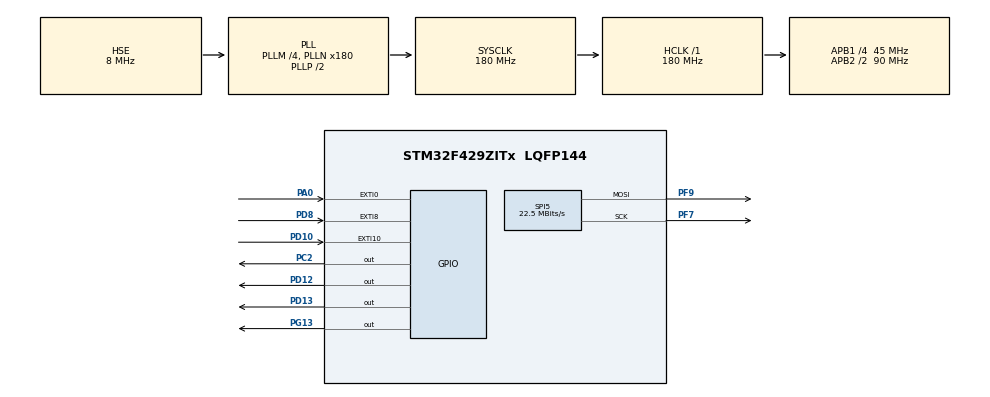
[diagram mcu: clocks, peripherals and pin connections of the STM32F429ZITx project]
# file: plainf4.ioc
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Dma.Request0=SPI5_TX
Dma.SPI5_TX.0.Direction=DMA_MEMORY_TO_PERIPH
Dma.SPI5_TX.0.FIFOMode=DMA_FIFOMODE_DISABLE
Dma.SPI5_TX.0.Instance=DMA2_Stream4
Dma.SPI5_TX.0.MemDataAlignment=DMA_MDATAALIGN_BYTE
Dma.SPI5_TX.0.MemInc=DMA_MINC_ENABLE
Dma.SPI5_TX.0.Mode=DMA_NORMAL
Dma.SPI5_TX.0.PeriphDataAlignment=DMA_PDATAALIGN_BYTE
Dma.SPI5_TX.0.PeriphInc=DMA_PINC_DISABLE
Dma.SPI5_TX.0.Priority=DMA_PRIORITY_LOW
Mcu.Family=STM32F4
Mcu.Name=STM32F429ZITx
Mcu.Package=LQFP144
NVIC.DMA2_Stream4_IRQn=true\:0\:0\:false\:false\:true\:false\:true\:true
NVIC.EXTI0_IRQn=true\:0\:0\:false\:false\:true\:true\:true\:true
NVIC.EXTI15_10_IRQn=true\:0\:0\:false\:false\:true\:true\:true\:true
NVIC.EXTI9_5_IRQn=true\:0\:0\:false\:false\:true\:true\:true\:true
NVIC.PriorityGroup=NVIC_PRIORITYGROUP_4
PA0/WKUP.GPIO_ModeDefaultEXTI=GPIO_MODE_IT_RISING
PA0/WKUP.Signal=GPXTI0
PA13.Mode=Serial_Wire
PA13.Signal=SYS_JTMS-SWDIO
PA14.Mode=Serial_Wire
PA14.Signal=SYS_JTCK-SWCLK
PC14/OSC32_IN.Mode=LSE-External-Oscillator
PC14/OSC32_IN.Signal=RCC_OSC32_IN
PC15/OSC32_OUT.Mode=LSE-External-Oscillator
PC15/OSC32_OUT.Signal=RCC_OSC32_OUT
PC2.Signal=GPIO_Output
PD10.GPIO_ModeDefaultEXTI=GPIO_MODE_IT_FALLING
PD10.GPIO_PuPd=GPIO_PULLDOWN
PD10.Signal=GPXTI10
PD12.Signal=GPIO_Output
PD13.Signal=GPIO_Output
PD8.GPIO_ModeDefaultEXTI=GPIO_MODE_IT_FALLING
PD8.GPIO_PuPd=GPIO_PULLDOWN
PD8.Signal=GPXTI8
PF7.Mode=TX_Only_Simplex_Unidirect_Master
PF7.Signal=SPI5_SCK
PF9.Mode=TX_Only_Simplex_Unidirect_Master
PF9.Signal=SPI5_MOSI
PG13.Signal=GPIO_Output
PH0/OSC_IN.Mode=HSE-External-Oscillator
PH0/OSC_IN.Signal=RCC_OSC_IN
PH1/OSC_OUT.Mode=HSE-External-Oscillator
PH1/OSC_OUT.Signal=RCC_OSC_OUT
ProjectManager.HeapSize=0x200
ProjectManager.StackSize=0x400
ProjectManager.TargetToolchain=STM32CubeIDE
RCC.48MHZClocksFreq_Value=90000000
RCC.AHBFreq_Value=180000000
RCC.APB1CLKDivider=RCC_HCLK_DIV4
RCC.APB1Freq_Value=45000000
RCC.APB1TimFreq_Value=90000000
RCC.APB2CLKDivider=RCC_HCLK_DIV2
RCC.APB2Freq_Value=90000000
RCC.APB2TimFreq_Value=180000000
RCC.CortexFreq_Value=180000000
RCC.HCLKFreq_Value=180000000
RCC.HSE_VALUE=8000000
RCC.HSI_VALUE=16000000
RCC.PLLM=4
RCC.PLLN=180
RCC.PLLSourceVirtual=RCC_PLLSOURCE_HSE
RCC.SYSCLKFreq_VALUE=180000000
RCC.SYSCLKSource=RCC_SYSCLKSOURCE_PLLCLK
RCC.VCOOutputFreq_Value=360000000
SPI5.BaudRatePrescaler=SPI_BAUDRATEPRESCALER_4
SPI5.CalculateBaudRate=22.5 MBits/s
SPI5.Direction=SPI_DIRECTION_2LINES
SPI5.Mode=SPI_MODE_MASTER
SPI5.VirtualType=VM_MASTER
VP_RTC_VS_RTC_Activate.Mode=RTC_Enabled
board=custom

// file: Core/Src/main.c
/* USER CODE BEGIN Header */
/**
 ******************************************************************************
 * @file           : main.c
 * @brief          : Main program body
 ******************************************************************************
 * @attention
 *
 * Copyright (c) 2025 STMicroelectronics.
 * All rights reserved.
 *
 * This software is licensed under terms that can be found in the LICENSE file
 * in the root directory of this software component.
 * If no LICENSE file comes with this software, it is provided AS-IS.
 *
 ******************************************************************************
 */
/* USER CODE END Header */
#include "main.h"

/* USER CODE BEGIN Includes */
#include "ILI9341_GFX.h"
#include "fonts.h"
#include "ILI9341_STM32_Driver.h"
#include "math.h"
#include <stdlib.h>  // cần cho rand() và srand()
#include <time.h>    // cần cho time()
#include "stdio.h"
#define PLANE_WIDTH  20
#define PLANE_HEIGHT 20
#define BULLET_WIDTH 4
#define BULLET_HEIGHT 8
#define MAX_BULLETS 5
#define MAX_ENEMIES 15
#define BOSS_WIDTH 40
#define BOSS_HEIGHT 30
#define MAX_BOSS_BULLETS 50

/* USER CODE END Includes */

RTC_HandleTypeDef hrtc;

SPI_HandleTypeDef hspi5;
DMA_HandleTypeDef hdma_spi5_tx;

/* USER CODE BEGIN PV */
typedef struct { //khai báo kiểu dữ liệu bullet
	int x;
	int y;
	int active;
} Bullet;

typedef struct { // khai báo kiểu dữ liệu máy bay địch
	int x;
	int y;
	int active;
} EnemyPlane;

typedef struct { // khai báo kiểu dữ liệu boss
	int x, y;
	int hp;
	int active;
	int laser_timer;
} Boss;

//đoạn này nhằm khai báo các biến cục bộ
EnemyPlane enemies[MAX_ENEMIES]; //tạo mảng lưu số lượng máy bay địch tối đa
Bullet bullets[MAX_BULLETS]; //tạo mảng lưu trữ số lượng đạn bắn ra tối đa
Boss boss;
Bullet boss_bullets[MAX_BOSS_BULLETS]; // số lượng đạn boss bắn ra tối đa
int boss_bullet_count = 0;
int plane_x = 50;
int plane_y = 120;
int plane_move_flag = 0;
int plane_move_left_flag = 0;     // Dùng cho nút trái
int plane_move_right_flag = 0;    // Dùng cho nút phải
int point = 0;
extern const uint8_t Arial_Narrow8x12[];
int current_enemy_count = 3; // Số địch hiện tại đang được sử dụng
int level = 1;
int a = 1; //biến a thay đổi để tính di chuyển của boss
uint32_t last_boss_fire_time = 0;
const uint32_t boss_fire_interval = 3000; // 3 giây
uint32_t level_start_time = 0;
uint32_t current_time = 0;
const uint32_t LEVEL_DURATION = 30000; // 30 giây
uint32_t boss_start_time = 0;
/* USER CODE END PV */

void SystemClock_Config(void);
static void MX_GPIO_Init(void);
static void MX_DMA_Init(void);
static void MX_RTC_Init(void);
static void MX_SPI5_Init(void);

/* USER CODE BEGIN 0 */
/* Game logic ----------------------------------------------------------------*/

void draw_plane(int x, int y) {
	// Định nghĩa màu sắc
	uint16_t fuselage_color = 0x4208;   // Xám đậm (thân máy bay)
	    uint16_t wing_color = 0x2104;       // Xám rất đậm (cánh)
	    uint16_t nose_color = 0xF800;       // Đỏ (mũi)
	    uint16_t window_color = 0x001F;     // Xanh dương (cửa sổ)
	    uint16_t engine_color = 0x0000;     // Đen (động cơ)
	    uint16_t detail_color = 0x0000;     // Đen (chi tiết)

	    // Thân máy bay chính - hình oval mượt mà
	    // Phần giữa thân (dày nhất)
	    ILI9341_DrawLine(x-14, y, x+16, y, fuselage_color);
	    ILI9341_DrawLine(x-13, y-1, x+15, y-1, fuselage_color);
	    ILI9341_DrawLine(x-13, y+1, x+15, y+1, fuselage_color);
	    ILI9341_DrawLine(x-12, y-2, x+14, y-2, fuselage_color);
	    ILI9341_DrawLine(x-12, y+2, x+14, y+2, fuselage_color);
	    ILI9341_DrawLine(x-10, y-3, x+12, y-3, fuselage_color);
	    ILI9341_DrawLine(x-10, y+3, x+12, y+3, fuselage_color);

	    // Mũi máy bay - hình côn đẹp
	    ILI9341_DrawPixel(x-18, y, nose_color);
	    ILI9341_DrawLine(x-17, y-1, x-17, y+1, nose_color);
	    ILI9341_DrawLine(x-16, y-2, x-16, y+2, nose_color);
	    ILI9341_DrawLine(x-15, y-2, x-15, y+2, nose_color);
	    // Viền mũi
	    ILI9341_DrawPixel(x-16, y-3, detail_color);
	    ILI9341_DrawPixel(x-16, y+3, detail_color);

	    // Đuôi máy bay - thiết kế phức tạp
	    ILI9341_DrawLine(x+13, y-4, x+13, y+4, fuselage_color);
	    ILI9341_DrawLine(x+14, y-3, x+14, y+3, fuselage_color);
	    ILI9341_DrawLine(x+15, y-2, x+15, y+2, fuselage_color);
	    ILI9341_DrawLine(x+16, y-1, x+16, y+1, fuselage_color);
//	    // Cánh đuôi dọc
//	    ILI9341_DrawLine(x+14, y-6, x+14, y-4, wing_color);
//	    ILI9341_DrawLine(x+15, y-5, x+15, y-3, wing_color);
//	    ILI9341_DrawLine(x+16, y-4, x+16, y-2, wing_color);

	    // Cánh chính - thiết kế cong đẹp
	    // Cánh trên
	    ILI9341_DrawLine(x-2, y-16, x+8, y-8, wing_color);
	    ILI9341_DrawLine(x-1, y-15, x+7, y-7, wing_color);
	    ILI9341_DrawLine(x, y-14, x+6, y-6, wing_color);
	    ILI9341_DrawLine(x+1, y-13, x+5, y-5, wing_color);
	    ILI9341_DrawLine(x+2, y-12, x+4, y-4, wing_color);

	    // Cánh dưới
	    ILI9341_DrawLine(x-2, y+16, x+8, y+8, wing_color);
	    ILI9341_DrawLine(x-1, y+15, x+7, y+7, wing_color);
	    ILI9341_DrawLine(x, y+14, x+6, y+6, wing_color);
	    ILI9341_DrawLine(x+1, y+13, x+5, y+5, wing_color);
	    ILI9341_DrawLine(x+2, y+12, x+4, y+4, wing_color);

	    // Viền cánh
	    ILI9341_DrawLine(x-2, y-16, x-1, y-15, detail_color);
	    ILI9341_DrawLine(x-2, y+16, x-1, y+15, detail_color);
	    ILI9341_DrawLine(x+7, y-8, x+8, y-7, detail_color);
	    ILI9341_DrawLine(x+7, y+8, x+8, y+7, detail_color);

	    // Cánh đuôi ngang - nhỏ và thanh lịch
	    ILI9341_DrawLine(x-8, y-6, x-4, y-4, wing_color);
	    ILI9341_DrawLine(x-8, y+6, x-4, y+4, wing_color);
	    ILI9341_DrawLine(x-7, y-5, x-5, y-3, wing_color);
ILI9341_DrawLine(x-7, y+5, x-5, y+3, wing_color);

	    // Động cơ - hình trụ thực tế
	    // Động cơ trên
	    ILI9341_DrawLine(x-1, y-11, x+3, y-9, engine_color);
	    ILI9341_DrawLine(x-1, y-10, x+3, y-8, engine_color);
	    ILI9341_DrawLine(x, y-12, x+2, y-10, engine_color);
	    ILI9341_DrawPixel(x-1, y-12, detail_color);
	    ILI9341_DrawPixel(x+3, y-8, detail_color);

	    // Động cơ dưới
	    ILI9341_DrawLine(x-1, y+11, x+3, y+9, engine_color);
	    ILI9341_DrawLine(x-1, y+10, x+3, y+8, engine_color);
	    ILI9341_DrawLine(x, y+12, x+2, y+10, engine_color);
	    ILI9341_DrawPixel(x-1, y+12, detail_color);
	    ILI9341_DrawPixel(x+3, y+8, detail_color);

	    // Cửa sổ máy bay - hàng cửa sổ đẹp
	    ILI9341_DrawPixel(x-10, y-1, window_color);
	    ILI9341_DrawPixel(x-8, y-1, window_color);
	    ILI9341_DrawPixel(x-6, y-1, window_color);
	    ILI9341_DrawPixel(x-4, y-1, window_color);
	    ILI9341_DrawPixel(x-10, y+1, window_color);
	    ILI9341_DrawPixel(x-8, y+1, window_color);
	    ILI9341_DrawPixel(x-6, y+1, window_color);
	    ILI9341_DrawPixel(x-4, y+1, window_color);

	    // Cửa sổ cabin lái
	    ILI9341_DrawPixel(x-12, y, window_color);
	    ILI9341_DrawPixel(x-11, y-1, window_color);
	    ILI9341_DrawPixel(x-11, y+1, window_color);

	    // Chi tiết trang trí
	    ILI9341_DrawLine(x-5, y, x+5, y, detail_color);  // Đường viền thân
	    ILI9341_DrawPixel(x+10, y-1, detail_color);      // Logo/chi tiết
	    ILI9341_DrawPixel(x+10, y+1, detail_color);
}

void erase_plane(int x, int y) {

	// Định nghĩa màu sắc
	    uint16_t fuselage_color = 0xFFFFF;   // trắng
	    uint16_t wing_color = 0xFFFFF;   // trắng
	    uint16_t nose_color = 0xFFFFF;   // trắng
	    uint16_t window_color = 0xFFFFF;   // trắng
	    uint16_t engine_color = 0xFFFFF;   // trắng
	    uint16_t detail_color = 0xFFFFF;   // trắng

	    // Thân máy bay chính - hình oval mượt mà
	    // Phần giữa thân (dày nhất)
	    ILI9341_DrawLine(x-14, y, x+16, y, fuselage_color);
	    ILI9341_DrawLine(x-13, y-1, x+15, y-1, fuselage_color);
	    ILI9341_DrawLine(x-13, y+1, x+15, y+1, fuselage_color);
	    ILI9341_DrawLine(x-12, y-2, x+14, y-2, fuselage_color);
	    ILI9341_DrawLine(x-12, y+2, x+14, y+2, fuselage_color);
	    ILI9341_DrawLine(x-10, y-3, x+12, y-3, fuselage_color);
	    ILI9341_DrawLine(x-10, y+3, x+12, y+3, fuselage_color);

	    // Mũi máy bay - hình côn đẹp
	    ILI9341_DrawPixel(x-18, y, nose_color);
	    ILI9341_DrawLine(x-17, y-1, x-17, y+1, nose_color);
	    ILI9341_DrawLine(x-16, y-2, x-16, y+2, nose_color);
	    ILI9341_DrawLine(x-15, y-2, x-15, y+2, nose_color);
	    // Viền mũi
	    ILI9341_DrawPixel(x-16, y-3, detail_color);
	    ILI9341_DrawPixel(x-16, y+3, detail_color);

	    // Đuôi máy bay - thiết kế phức tạp
	    ILI9341_DrawLine(x+13, y-4, x+13, y+4, fuselage_color);
	    ILI9341_DrawLine(x+14, y-3, x+14, y+3, fuselage_color);
ILI9341_DrawLine(x+15, y-2, x+15, y+2, fuselage_color);
	    ILI9341_DrawLine(x+16, y-1, x+16, y+1, fuselage_color);

	    // Cánh chính - thiết kế cong đẹp
	    // Cánh trên
	    ILI9341_DrawLine(x-2, y-16, x+8, y-8, wing_color);
	    ILI9341_DrawLine(x-1, y-15, x+7, y-7, wing_color);
	    ILI9341_DrawLine(x, y-14, x+6, y-6, wing_color);
	    ILI9341_DrawLine(x+1, y-13, x+5, y-5, wing_color);
	    ILI9341_DrawLine(x+2, y-12, x+4, y-4, wing_color);

	    // Cánh dưới
	    ILI9341_DrawLine(x-2, y+16, x+8, y+8, wing_color);
	    ILI9341_DrawLine(x-1, y+15, x+7, y+7, wing_color);
	    ILI9341_DrawLine(x, y+14, x+6, y+6, wing_color);
	    ILI9341_DrawLine(x+1, y+13, x+5, y+5, wing_color);
	    ILI9341_DrawLine(x+2, y+12, x+4, y+4, wing_color);

	    // Viền cánh
	    ILI9341_DrawLine(x-2, y-16, x-1, y-15, detail_color);
	    ILI9341_DrawLine(x-2, y+16, x-1, y+15, detail_color);
	    ILI9341_DrawLine(x+7, y-8, x+8, y-7, detail_color);
	    ILI9341_DrawLine(x+7, y+8, x+8, y+7, detail_color);

	    // Cánh đuôi ngang - nhỏ và thanh lịch
	    ILI9341_DrawLine(x-8, y-6, x-4, y-4, wing_color);
	    ILI9341_DrawLine(x-8, y+6, x-4, y+4, wing_color);
	    ILI9341_DrawLine(x-7, y-5, x-5, y-3, wing_color);
	    ILI9341_DrawLine(x-7, y+5, x-5, y+3, wing_color);

	    // Động cơ - hình trụ thực tế
	    // Động cơ trên
	    ILI9341_DrawLine(x-1, y-11, x+3, y-9, engine_color);
	    ILI9341_DrawLine(x-1, y-10, x+3, y-8, engine_color);
	    ILI9341_DrawLine(x, y-12, x+2, y-10, engine_color);
	    ILI9341_DrawPixel(x-1, y-12, detail_color);
	    ILI9341_DrawPixel(x+3, y-8, detail_color);

	    // Động cơ dưới
	    ILI9341_DrawLine(x-1, y+11, x+3, y+9, engine_color);
	    ILI9341_DrawLine(x-1, y+10, x+3, y+8, engine_color);
	    ILI9341_DrawLine(x, y+12, x+2, y+10, engine_color);
	    ILI9341_DrawPixel(x-1, y+12, detail_color);
	    ILI9341_DrawPixel(x+3, y+8, detail_color);

	    // Cửa sổ máy bay - hàng cửa sổ đẹp
	    ILI9341_DrawPixel(x-10, y-1, window_color);
	    ILI9341_DrawPixel(x-8, y-1, window_color);
	    ILI9341_DrawPixel(x-6, y-1, window_color);
	    ILI9341_DrawPixel(x-4, y-1, window_color);
	    ILI9341_DrawPixel(x-10, y+1, window_color);
	    ILI9341_DrawPixel(x-8, y+1, window_color);
	    ILI9341_DrawPixel(x-6, y+1, window_color);
	    ILI9341_DrawPixel(x-4, y+1, window_color);

	    // Cửa sổ cabin lái
	    ILI9341_DrawPixel(x-12, y, window_color);
	    ILI9341_DrawPixel(x-11, y-1, window_color);
	    ILI9341_DrawPixel(x-11, y+1, window_color);

	    // Chi tiết trang trí
	    ILI9341_DrawLine(x-5, y, x+5, y, detail_color);  // Đường viền thân
	    ILI9341_DrawPixel(x+10, y-1, detail_color);      // Logo/chi tiết
	    ILI9341_DrawPixel(x+10, y+1, detail_color);
}

//void draw_enemies(int x, int y) { //hàm vẽ enemies
//	ILI9341_DrawRectangle(x, y, PLANE_WIDTH, PLANE_HEIGHT, GREEN);
//}
//void erase_enemies(int x, int y) { //hàm xóa enemies
//	ILI9341_DrawRectangle(x, y, PLANE_WIDTH, PLANE_HEIGHT, WHITE);
//}
void draw_enemies(int x, int y) { // hàm vẽ enemies
    // Thân chính (bay từ trên xuống - mũi hướng xuống)
    ILI9341_DrawRectangle(x + 5, y + 8, 15, 4, DARKGREEN);  // thân trung tâm
    ILI9341_DrawRectangle(x + 2, y + 10, 8, 2, DARKGREEN);  // mũi nhọn

    // Cánh delta (quay 90 độ)
    ILI9341_DrawRectangle(x + 8, y + 2, 6, 16, GREEN);      // cánh chính
    ILI9341_DrawRectangle(x + 6, y + 4, 10, 12, GREEN);     // phần cánh rộng
    ILI9341_DrawRectangle(x + 4, y + 6, 14, 8, GREEN);      // phần cánh trong

    // Động cơ phía sau (2 ống ở phía trên)
    ILI9341_DrawRectangle(x + 18, y + 4, 4, 3, DARKGREEN); // động cơ trên
    ILI9341_DrawRectangle(x + 18, y + 13, 4, 3, DARKGREEN);// động cơ dưới

    // Cockpit (buồng lái)
    ILI9341_DrawRectangle(x + 7, y + 9, 4, 2, BLUE);

    // Chi tiết nhỏ (đèn cảnh báo)
    ILI9341_DrawPixel(x + 10, y + 6, RED);
    ILI9341_DrawPixel(x + 10, y + 14, RED);
}

void erase_enemies(int x, int y) { // hàm xóa enemies
    // Xóa toàn bộ vùng enemy (sau khi quay)
    ILI9341_DrawRectangle(x, y, 25, 20, WHITE);
}

void init_enemies() { //hàm khởi tạo enemies
	for (int i = 0; i < current_enemy_count; i++) {
		enemies[i].x = 280 + i * 10;
		enemies[i].y = rand() % 100;
		enemies[i].active = 1;
	}
}

void update_enemies() { //hàm cập nhật enemies
	for (int i = 0; i < current_enemy_count; i++) {
		if (enemies[i].active) {
			erase_enemies(enemies[i].x, enemies[i].y);

			enemies[i].x -= level*3;

			if (enemies[i].x <= 0) {
				enemies[i].x = 320;
				enemies[i].y = (enemies[i].y + 100 + rand() * 3 % 70) % 220;
			}

			draw_enemies(enemies[i].x, enemies[i].y); // vẽ lại enemy
		}
	}
}

void init_boss() { //hàm khởi tạo boss
	boss.x = 280;
	boss.y = 20;
	boss.hp = 20;
	boss.active = 1;
	boss.laser_timer = 0;
}

//void draw_boss(int x, int y) { //vẽ boss
//	ILI9341_DrawRectangle(x, y, BOSS_WIDTH, BOSS_HEIGHT, RED);
//}
//
//void erase_boss(int x, int y) { //xóa boss
//	ILI9341_DrawRectangle(x, y, BOSS_WIDTH, BOSS_HEIGHT, WHITE);
//}
void draw_boss(int x, int y) { // vẽ boss
    // Thân chính (oval lớn)
    ILI9341_DrawRectangle(x + 20, y + 15, 40, 20, GREEN);
    ILI9341_DrawRectangle(x + 15, y + 20, 50, 10, GREEN);

    // Đầu boss (phần nhọn phía trước)
    ILI9341_DrawRectangle(x + 65, y + 22, 10, 6, DARKGREEN);

    // Cánh trên
    ILI9341_DrawRectangle(x + 10, y + 5, 60, 8, GREEN);
    ILI9341_DrawRectangle(x + 5, y + 8, 70, 4, GREEN);

    // Cánh dưới
    ILI9341_DrawRectangle(x + 10, y + 37, 60, 8, GREEN);
    ILI9341_DrawRectangle(x + 5, y + 40, 70, 4, GREEN);

    // Động cơ/Turbin (4 cái)
    ILI9341_DrawRectangle(x + 8, y + 13, 6, 8, DARKGREEN);   // trái trên
    ILI9341_DrawRectangle(x + 8, y + 29, 6, 8, DARKGREEN);   // trái dưới
    ILI9341_DrawRectangle(x + 66, y + 13, 6, 8, DARKGREEN);  // phải trên
    ILI9341_DrawRectangle(x + 66, y + 29, 6, 8, DARKGREEN);  // phải dưới

    // Đuôi
    ILI9341_DrawRectangle(x, y + 20, 15, 10, GREEN);
    ILI9341_DrawRectangle(x - 5, y + 23, 8, 4, GREEN);

    // Cửa sổ/Cockpit
    ILI9341_DrawRectangle(x + 35, y + 22, 8, 6, BLUE);

    // Chi tiết nhỏ (đèn/cảm biến)
    ILI9341_DrawPixel(x + 25, y + 18, RED);
    ILI9341_DrawPixel(x + 55, y + 18, RED);
    ILI9341_DrawPixel(x + 25, y + 32, RED);
    ILI9341_DrawPixel(x + 55, y + 32, RED);
}

void erase_boss(int x, int y) { // xóa boss
    // Xóa toàn bộ vùng boss bằng cách vẽ hình chữ nhật trắng lớn
    ILI9341_DrawRectangle(x - 5, y + 5, 85, 45, WHITE);
}

void fire_boss_laser() { // hàm bắn đạn của boss
	for (int i = 0; i < MAX_BOSS_BULLETS; i += 3) {
		if (!boss_bullets[i].active) {
			boss_bullets[i].x = boss.x;
			boss_bullets[i].y = boss.y;
			boss_bullets[i].active = 1;

			boss_bullets[i + 1].x = boss.x;
			boss_bullets[i + 1].y = boss.y;
			boss_bullets[i + 1].active = 1;

			boss_bullets[i + 2].x = boss.x;
			boss_bullets[i + 2].y = boss.y;
			boss_bullets[i + 2].active = 1;
			break;
		}
	}
}

void boss_shotgun(int i) {
	// Xóa viên đạn cũ
	ILI9341_DrawRectangle(boss_bullets[i].x, boss_bullets[i].y,
	BULLET_HEIGHT, BULLET_WIDTH, WHITE);
	ILI9341_DrawRectangle(boss_bullets[i + 1].x, boss_bullets[i + 1].y,
	BULLET_HEIGHT, BULLET_WIDTH, WHITE);
	ILI9341_DrawRectangle(boss_bullets[i + 2].x, boss_bullets[i + 2].y,
	BULLET_HEIGHT, BULLET_WIDTH, WHITE);

	// Di chuyển đạn xuống
	boss_bullets[i].x -= 2;

	boss_bullets[i + 1].x -= 2;
	boss_bullets[i + 1].y += 1;

	boss_bullets[i + 2].x -= 2;
	boss_bullets[i + 2].y -= 1;

	// Nếu ra khỏi màn hình
//	if (boss_bullets[i].x <= 0) {
//		boss_bullets[i].active = 0;
//		boss_bullets[i + 1].active = 0;
//		boss_bullets[i + 2].active = 0;
//		return;
//	}

	// Vẽ lại viên đạn mới
	ILI9341_DrawRectangle(boss_bullets[i].x, boss_bullets[i].y,
	BULLET_HEIGHT, BULLET_WIDTH, RED);

	ILI9341_DrawRectangle(boss_bullets[i + 1].x, boss_bullets[i + 1].y,
	BULLET_HEIGHT, BULLET_WIDTH, RED);

	ILI9341_DrawRectangle(boss_bullets[i + 2].x, boss_bullets[i + 2].y,
	BULLET_HEIGHT, BULLET_WIDTH, RED);

	check_lose(i);
}

void boss_burst(int i) {
	// Xóa viên đạn cũ
	ILI9341_DrawRectangle(boss_bullets[i].x, boss_bullets[i].y,
	BULLET_HEIGHT, BULLET_WIDTH, WHITE);
	ILI9341_DrawRectangle(boss_bullets[i + 1].x, boss_bullets[i + 1].y,
	BULLET_HEIGHT, BULLET_WIDTH, WHITE);
	ILI9341_DrawRectangle(boss_bullets[i + 2].x, boss_bullets[i + 2].y,
	BULLET_HEIGHT, BULLET_WIDTH, WHITE);

	// Di chuyển đạn xuống
	boss_bullets[i].x -= 2;

	boss_bullets[i + 1].x = boss_bullets[i].x + 32;

	boss_bullets[i + 2].x = boss_bullets[i].x + 64;

	// Nếu ra khỏi màn hình
//	if (boss_bullets[i].x <= 0) {
//		boss_bullets[i].active = 0;
//		boss_bullets[i + 1].active = 0;
//		boss_bullets[i + 2].active = 0;
//		return;
//	}

	// Vẽ lại viên đạn mới
	ILI9341_DrawRectangle(boss_bullets[i].x, boss_bullets[i].y,
	BULLET_HEIGHT, BULLET_WIDTH, RED);

	ILI9341_DrawRectangle(boss_bullets[i + 1].x, boss_bullets[i + 1].y,
	BULLET_HEIGHT, BULLET_WIDTH, RED);

	ILI9341_DrawRectangle(boss_bullets[i + 2].x, boss_bullets[i + 2].y,
	BULLET_HEIGHT, BULLET_WIDTH, RED);

	check_lose(i);
}

void boss_wave(int i) {
	// Xóa viên đạn cũ
	ILI9341_DrawRectangle(boss_bullets[i].x, boss_bullets[i].y,
	BULLET_HEIGHT, BULLET_WIDTH, WHITE);
	ILI9341_DrawRectangle(boss_bullets[i + 1].x, boss_bullets[i + 1].y,
	BULLET_HEIGHT, BULLET_WIDTH, WHITE);
	ILI9341_DrawRectangle(boss_bullets[i + 2].x, boss_bullets[i + 2].y,
	BULLET_HEIGHT, BULLET_WIDTH, WHITE);

	// Di chuyển đạn xuống
	boss_bullets[i].x -= 2;

	boss_bullets[i + 1].x = boss_bullets[i].x + 16;
	boss_bullets[i + 1].y = boss_bullets[i].y + 16;

	boss_bullets[i + 2].x = boss_bullets[i].x + 16;
	boss_bullets[i + 2].y = boss_bullets[i].y - 16;

	// Nếu ra khỏi màn hình
//	if (boss_bullets[i].x <= 0) {
//		boss_bullets[i].active = 0;
//		boss_bullets[i + 1].active = 0;
//		boss_bullets[i + 2].active = 0;
//		return;
//	}

	// Vẽ lại viên đạn mới
	ILI9341_DrawRectangle(boss_bullets[i].x, boss_bullets[i].y,
	BULLET_HEIGHT, BULLET_WIDTH, RED);

	ILI9341_DrawRectangle(boss_bullets[i + 1].x, boss_bullets[i + 1].y,
	BULLET_HEIGHT, BULLET_WIDTH, RED);

	ILI9341_DrawRectangle(boss_bullets[i + 2].x, boss_bullets[i + 2].y,
	BULLET_HEIGHT, BULLET_WIDTH, RED);

	check_lose(i);
}

void update_boss_bullets() { // hàm cập nhật tình trạng đạn của boss
	//nếu viên đạn được active, vẽ lại đường đạn đi xuống, nếu va chạm vào máy bay thì thua
	for (int i = 0; i < MAX_BOSS_BULLETS; i += 3) {
		if (boss_bullets[i].active) {
			if ((i / 3) % 3 == 0) {
				boss_shotgun(i);
			} else if ((i / 3) % 3 == 1) {
				boss_burst(i);
			} else if ((i / 3) % 3 == 2) {
				boss_wave(i);
			}
		}
	}
}
void check_lose(int i) {
// Kiểm tra va chạm với máy bay người chơi
	for (int j = i; j < i + 3; j++) {
		if (boss_bullets[j].x + 4 <= plane_x
				|| boss_bullets[j].x >= plane_x + PLANE_WIDTH
				|| boss_bullets[j].y + 4 <= plane_y - PLANE_WIDTH / 2
				|| boss_bullets[j].y >= plane_y + PLANE_HEIGHT / 2) {
		} else {
			show_game_over_screen();
			while (1)
				; // Dừng game tại đây
		}
	}
}

void update_boss() {
//hàm cập nhật tình trạng của boss, boss di chuyển qua lại màn hình, sau 100 chu kì sẽ bắn đạn 1 lần
	if (!boss.active)
		return;
	erase_boss(boss.x, boss.y);
	if (boss.y <= 0)
		a = 1;
	else if (boss.y >= 210)
		a = -1; // Di chuyển lại từ phải sang trái
	boss.y += a;

	draw_boss(boss.x, boss.y);

	boss.laser_timer++;
	if (boss.laser_timer >= 100) { // Bắn laser sau mỗi 100 chu kỳ
		fire_boss_laser();
		boss.laser_timer = 0;
	}
}

int check_bullet_boss_collision() {
// hàm check va chạm boss với đạn, nếu bắn boss đủ số lượng đạn, boss sẽ chết
	if (!boss.active)
		return 0;

	for (int i = 0; i < MAX_BULLETS; i++) {
		if (!bullets[i].active)
			continue;

		if (bullets[i].x + BULLET_HEIGHT > boss.x&&
		bullets[i].x < boss.x + BOSS_WIDTH &&
		bullets[i].y + BULLET_WIDTH > boss.y &&
		bullets[i].y < boss.y + BOSS_HEIGHT) {

			bullets[i].active = 0;
			ILI9341_DrawRectangle(bullets[i].x, bullets[i].y,
			BULLET_HEIGHT, BULLET_WIDTH, WHITE);

			boss.hp--;
			if (boss.hp <= 0) {
				erase_boss(boss.x, boss.y);
				boss.active = 0;
				return 1;
			}
		}
	}
	return 0;
}

//void show_victory_screen() { //màn hình chiến thắng
//	ILI9341_FillScreen(BLACK);
//
//// Hiệu ứng "pháo hoa" đơn giản
//	for (int r = 0; r < 60; r += 4) {
//		ILI9341_DrawHollowCircle(80, 80, r, YELLOW);
//		ILI9341_DrawHollowCircle(240, 100, r, GREEN);
//		ILI9341_DrawHollowCircle(160, 160, r, RED);
//		HAL_Delay(30);
//	}
//
//// Tiêu đề chiến thắng
//	ILI9341_DrawText("YOU WIN!", FONT3, 90, 100, GREEN, BLACK);
//	ILI9341_DrawText("Congratulations", FONT3, 60, 160, WHITE, BLACK);
//	ILI9341_DrawText("Press RESET to play again", FONT2, 30, 270, CYAN, BLACK);
//}

void show_victory_screen() { // màn hình chiến thắng
    ILI9341_FillScreen(BLACK);

    // Hiệu ứng "pháo hoa" đơn giản
    for (int r = 0; r < 60; r += 4) {
        ILI9341_DrawHollowCircle(80, 80, r, YELLOW);
        ILI9341_DrawHollowCircle(240, 100, r, GREEN);
        ILI9341_DrawHollowCircle(160, 160, r, RED);
        HAL_Delay(30);
    }

    // Tiêu đề chiến thắng
    ILI9341_DrawText("YOU WIN!", FONT3, 90, 100, GREEN, BLACK);

    // Hiển thị điểm số
    char score_msg[30];
    sprintf(score_msg, "Final Score: %d", point);
    ILI9341_DrawText(score_msg, FONT3, 50, 130, YELLOW, BLACK);

    ILI9341_DrawText("Congratulations", FONT3, 60, 160, WHITE, BLACK);
    ILI9341_DrawText("Press RESET to play again", FONT2, 30, 270, CYAN, BLACK);
}

void show_game_over_screen() {
	ILI9341_FillScreen(BLACK);

	ILI9341_DrawText("GAME OVER", FONT3, 80, 80, RED, BLACK);
	ILI9341_DrawText("Thanks for playing!", FONT3, 60, 140, WHITE, BLACK);

	for (int r = 0; r < 50; r += 5) {
		ILI9341_DrawFilledCircle(160, 240, r, YELLOW);
		HAL_Delay(30);
	}

	ILI9341_DrawText("Press RESET to play again", FONT2, 40, 270, BLUE, BLACK);
}

//void check_boss_bullet_collision_with_player() {
//	// hàm check va chạm của máy bay và đạn cuẩ boss
//	for (int i = 0; i < MAX_BOSS_BULLETS; i++) {
//		if (!boss_bullets[i].active)
//			continue;
//
//		if (boss_bullets[i].x + 4 <= plane_x
//				|| boss_bullets[i].x >= plane_x + PLANE_WIDTH
//				|| boss_bullets[i].y + 4 <= plane_y - PLANE_WIDTH / 2
//				|| boss_bullets[i].y >= plane_y + PLANE_HEIGHT / 2) {
//		} else {
//			ILI9341_FillScreen(WHITE);
//			ILI9341_DrawText("GAME OVER", FONT3, 50, 120, RED, WHITE);
//			while (1)
//				; // Dừng game tại đây
//		}
//	}
//}

void draw_bullet(Bullet *b) {
	ILI9341_DrawRectangle(b->x, b->y, BULLET_HEIGHT, BULLET_WIDTH, RED);
}

void erase_bullet(Bullet *b) {
	ILI9341_DrawRectangle(b->x, b->y, BULLET_HEIGHT, BULLET_WIDTH, WHITE);
}

void shoot_bullet() {
	//hàm khởi tạo đạn của máy bay
	for (int i = 0; i < MAX_BULLETS; i++) {
		if (!bullets[i].active) {
			bullets[i].x = plane_x + PLANE_WIDTH;
			bullets[i].y = plane_y;
			bullets[i].active = 1;
			break;
		}
	}
}

void update_bullets() {
	//hàm cập nhật tình trạng đạn, nếu viên đạn active thì sẽ di chuyển lên
	for (int i = 0; i < MAX_BULLETS; i++) {
		if (bullets[i].active) {
			erase_bullet(&bullets[i]);
			bullets[i].x += 5;
			if (bullets[i].x >= 320) {
				bullets[i].active = 0;
			} else {
				draw_bullet(&bullets[i]);
			}
		}
	}
}

void draw_score(int point) {
	char buffer[20];
	sprintf(buffer, "Score: %d", point);

	// Xóa vùng cũ (giả sử vùng rộng 120px, cao 18px)
	ILI9341_DrawRectangle(0, 0, 120, 18, WHITE);

	// Vẽ chuỗi mới (x=0, y=0), dùng font 11x18
	ILI9341_DrawText(buffer, Arial_Narrow8x12, 0, 0, BLACK, WHITE);
}

void check_bullet_enemy_collision() { //hàm check máy bay địch chạm đạn
	for (int i = 0; i < MAX_BULLETS; i++) {
		if (!bullets[i].active)
			continue;
		for (int j = 0; j < current_enemy_count; j++) {
			if (!enemies[j].active)
				continue;

			// Kiểm tra va chạm hình chữ nhật
			if (bullets[i].x + BULLET_HEIGHT > enemies[j].x&&
			bullets[i].x < enemies[j].x + PLANE_WIDTH &&
			bullets[i].y + BULLET_WIDTH > enemies[j].y &&
			bullets[i].y < enemies[j].y + PLANE_HEIGHT) {

				// Xóa máy bay địch và đạn
				erase_enemies(enemies[j].x, enemies[j].y);
				erase_bullet(&bullets[i]);
				bullets[i].active = 0;
				enemies[j].active = 0;

				// (Tùy chọn) Reset lại địch sau khi bị bắn( đảm bảo màn hình luốn đủ số lượng địch)
				enemies[j].x = 320;
				enemies[j].y = rand() % 100; // rand chạy từ 0 -> 32767
				enemies[j].active = 1;

				//cộng điểm
				point += 10;

			}
		}
	}
}

void show_welcome_screen() {
    ILI9341_FillScreen(WHITE);

    // Hiển thị tiêu đề
    ILI9341_DrawText("WELCOME TO", FONT3, 90, 80, RED, WHITE);
    ILI9341_DrawText("AIR WAR", FONT4, 110, 100, BLUE, WHITE);
    ILI9341_DrawText("PRESS TO START", FONT3, 90, 140, BLUE, WHITE);

    // Khởi tạo máy bay và địch cho demo
    int demo_plane_y = 120;
    int direction = 1;
    int demo_enemy_y = 30;

    uint32_t last_update = HAL_GetTick();

    while (!plane_move_flag) { // Đợi cho đến khi nhấn nút thật sự
        uint32_t now = HAL_GetTick();

        if (now - last_update >= 100) {
            // Cập nhật máy bay demo bay lên xuống
            int old_y = demo_plane_y;
            demo_plane_y += direction * 5;
            if (demo_plane_y > 180 || demo_plane_y < 60) direction *= -1;

            // Xóa và vẽ lại máy bay
            erase_plane(plane_x, old_y);
            draw_plane(plane_x, demo_plane_y);

            // Địch bay ngang đơn giản
            static int enemy_x = 220;
            erase_enemies(enemy_x, demo_enemy_y);
            enemy_x -= 10;
            if (enemy_x < -20) enemy_x = 220;
            draw_enemies(enemy_x, demo_enemy_y);

            last_update = now;
        }
    }
    if (plane_move_flag) {
        ILI9341_FillScreen(WHITE);  // Xóa màn hình welcome
        plane_move_flag = 0;        // Reset flag để không bị bắn ngay khi vào game
        return;                     // Thoát khỏi hàm show_welcome_screen()
    }
}

int check_collision(int x1, int y1, int w1, int h1, int x2, int y2, int w2,
		int h2)
// hàm check va chạm máy bay ta với địch
{
	return !(x1 + w1 <= x2 ||  // máy bay ta ở hoàn toàn ở dưới máy bay địch
			x2 + w2 <= x1 ||  // máy bay địch hoàn toàn ở dưới máy bay ta
			y1 + h1 / 2 <= y2 ||  // máy bay ta hoàn toàn bên phải máy bay đich
			y1 - h1 / 2 >= y2 + h2); // máy bay địch ở hoàn toàn bên phải máy bay ta
}

/* USER CODE END 0 */

int main(void) {

	/* MCU Configuration--------------------------------------------------------*/

	/* Reset of all peripherals, Initializes the Flash interface and the Systick. */
	HAL_Init();

	/* Configure the system clock */
	SystemClock_Config();

	/* Initialize all configured peripherals */
	MX_GPIO_Init();
	MX_DMA_Init();
	MX_RTC_Init();
	MX_SPI5_Init();
	/* USER CODE BEGIN 2 */
	ILI9341_Init();
	ILI9341_FillScreen(WHITE); //xóa màn hình cũ
	ILI9341_SetRotation(SCREEN_HORIZONTAL_2); // khởi tạo trục Oxy

	srand(time(NULL)); // lệnh này khởi tạo "seed" (hạt giống) cho bộ sinh số ngẫu nhiên rand()
	show_welcome_screen();

	/* USER CODE END 2 */

	/* Infinite loop */
	while (1) {

		/* USER CODE BEGIN 3 */
		/* Infinite loop */
		for (int i = 0; i < MAX_BULLETS; i++)
			bullets[i].active = 0;

		draw_plane(plane_x, plane_y);
		init_enemies();
		draw_score(point);
		level_start_time = HAL_GetTick(); // Bắt đầu đếm thời gian level đầu tiên

		while (1) {
			current_time = HAL_GetTick();
			draw_score(point);
			update_bullets();
			if (level <= 2) {
				draw_plane(plane_x, plane_y);
				update_enemies();
				for (int i = 0; i < current_enemy_count; i++) {
					if (enemies[i].active
							&& check_collision(plane_x, plane_y, PLANE_WIDTH,
							PLANE_HEIGHT, enemies[i].x, enemies[i].y,
							PLANE_WIDTH, PLANE_HEIGHT)) {
						// Hiển thị "Game Over"
						show_game_over_screen();
						while (1)
							; // Dừng game tại đây
					}
				}

				check_bullet_enemy_collision();
				if (plane_move_flag) {
					plane_move_flag = 0;
					shoot_bullet();  // chỉ bắn, không di chuyển
				}

				if (plane_move_left_flag) {
					plane_move_left_flag = 0;
					int old_y = plane_y;
					if (plane_y < 220) {
						plane_y = plane_y + 10;
					}
					erase_plane(plane_x, old_y);
					draw_plane(plane_x, plane_y);
				}

				if (plane_move_right_flag) {
					plane_move_right_flag = 0;
					int old_y = plane_y;
					if (plane_y > 30) {
						plane_y = plane_y - 10;
					}
					erase_plane(plane_x, old_y);
					draw_plane(plane_x, plane_y);
				}
				if (current_time - level_start_time >= LEVEL_DURATION) {
				    level_start_time = HAL_GetTick(); // Reset thời gian cho level mới
				    level++;
				    current_enemy_count += 2;
				    init_enemies();

				    // Hiển thị thông báo level up
				    ILI9341_FillScreen(WHITE);
				    char msg[30];
				    sprintf(msg, "LEVEL %d", level);
				    ILI9341_DrawText(msg, FONT3, 50, 120, BLUE, WHITE);
				    HAL_Delay(1000);
				    ILI9341_FillScreen(WHITE);
				}
			} else if (level == 3) {
				// Hiển thị thông báo level up

				ILI9341_FillScreen(WHITE);
				char msg[30];
				sprintf(msg, "FINAL BOSS", level);
				ILI9341_DrawText(msg, FONT3, 50, 120, BLUE, WHITE);
				HAL_Delay(1000);  // Hiển thị 1 giây
				ILI9341_FillScreen(WHITE);
				init_boss();
				draw_boss(boss.x, boss.y);
				draw_plane(plane_x, plane_y);
				boss_start_time = HAL_GetTick(); // Bắt đầu đếm thời gian boss
				uint32_t now = HAL_GetTick(); // Lấy thời gian hiện tại (milis)
				while (1) {
					draw_score(point);
					now = HAL_GetTick();
					if (now - last_boss_fire_time >= boss_fire_interval) {
						fire_boss_laser();
						last_boss_fire_time = now;
					}
					update_bullets();
					HAL_Delay(10);
					update_boss();
					update_boss_bullets();
					if (check_bullet_boss_collision() == 1) {
					    // Tính điểm thưởng khi tiêu diệt boss
					    uint32_t boss_kill_time = now - boss_start_time;
					    uint32_t seconds_taken = boss_kill_time / 1000; // Chuyển về giây

					    int bonus_points = 500 - seconds_taken;
					    if (bonus_points < 100) {
					        bonus_points = 100; // Tối thiểu 100 điểm
					    }

					    point += bonus_points;

					    // Hiển thị điểm thưởng
					    ILI9341_FillScreen(WHITE);
					    char bonus_msg[50];
					    sprintf(bonus_msg, "BOSS KILLED!");
					    ILI9341_DrawText(bonus_msg, FONT3, 30, 100, RED, WHITE);

					    sprintf(bonus_msg, "Time: %lu seconds", seconds_taken);
					    ILI9341_DrawText(bonus_msg, FONT2, 50, 130, BLUE, WHITE);

					    sprintf(bonus_msg, "Bonus: +%d points", bonus_points);
					    ILI9341_DrawText(bonus_msg, FONT2, 40, 150, GREEN, WHITE);

					    HAL_Delay(5000); // Hiển thị 5 giây

					    show_victory_screen();
					    while (1); // Dừng trò chơi
					}

					if (plane_move_flag) {
						plane_move_flag = 0;
						shoot_bullet();  // chỉ bắn, không di chuyển
					}

					if (plane_move_left_flag) {
						plane_move_left_flag = 0;
						int old_y = plane_y;
						plane_y = (plane_y + 5) % 220;
						erase_plane(plane_x, old_y);
						draw_plane(plane_x, plane_y);
					}

					if (plane_move_right_flag) {
						plane_move_right_flag = 0;
						int old_y = plane_y;
						plane_y = (plane_y - 5) % 220;
						erase_plane(plane_x, old_y);
						draw_plane(plane_x, plane_y);
					}
				}
			}
		}

		HAL_Delay(100); // Điều chỉnh tốc độ trò chơi
	}

	/* USER CODE END 3 */
}

void SystemClock_Config(void) {
	RCC_OscInitTypeDef RCC_OscInitStruct = { 0 };
	RCC_ClkInitTypeDef RCC_ClkInitStruct = { 0 };

	/** Configure the main internal regulator output voltage
	 */
	__HAL_RCC_PWR_CLK_ENABLE();
	__HAL_PWR_VOLTAGESCALING_CONFIG(PWR_REGULATOR_VOLTAGE_SCALE1);

	/** Initializes the RCC Oscillators according to the specified parameters
	 * in the RCC_OscInitTypeDef structure.
	 */
	RCC_OscInitStruct.OscillatorType = RCC_OSCILLATORTYPE_LSI
			| RCC_OSCILLATORTYPE_HSE;
	RCC_OscInitStruct.HSEState = RCC_HSE_ON;
	RCC_OscInitStruct.LSIState = RCC_LSI_ON;
	RCC_OscInitStruct.PLL.PLLState = RCC_PLL_ON;
	RCC_OscInitStruct.PLL.PLLSource = RCC_PLLSOURCE_HSE;
	RCC_OscInitStruct.PLL.PLLM = 4;
	RCC_OscInitStruct.PLL.PLLN = 180;
	RCC_OscInitStruct.PLL.PLLP = RCC_PLLP_DIV2;
	RCC_OscInitStruct.PLL.PLLQ = 4;
	if (HAL_RCC_OscConfig(&RCC_OscInitStruct) != HAL_OK) {
		Error_Handler();
	}

	/** Activate the Over-Drive mode
	 */
	if (HAL_PWREx_EnableOverDrive() != HAL_OK) {
		Error_Handler();
	}

	/** Initializes the CPU, AHB and APB buses clocks
	 */
	RCC_ClkInitStruct.ClockType = RCC_CLOCKTYPE_HCLK | RCC_CLOCKTYPE_SYSCLK
			| RCC_CLOCKTYPE_PCLK1 | RCC_CLOCKTYPE_PCLK2;
	RCC_ClkInitStruct.SYSCLKSource = RCC_SYSCLKSOURCE_PLLCLK;
	RCC_ClkInitStruct.AHBCLKDivider = RCC_SYSCLK_DIV1;
	RCC_ClkInitStruct.APB1CLKDivider = RCC_HCLK_DIV4;
	RCC_ClkInitStruct.APB2CLKDivider = RCC_HCLK_DIV2;

	if (HAL_RCC_ClockConfig(&RCC_ClkInitStruct, FLASH_LATENCY_5) != HAL_OK) {
		Error_Handler();
	}
}

static void MX_RTC_Init(void) {

	/** Initialize RTC Only
	 */
	hrtc.Instance = RTC;
	hrtc.Init.HourFormat = RTC_HOURFORMAT_24;
	hrtc.Init.AsynchPrediv = 127;
	hrtc.Init.SynchPrediv = 255;
	hrtc.Init.OutPut = RTC_OUTPUT_DISABLE;
	hrtc.Init.OutPutPolarity = RTC_OUTPUT_POLARITY_HIGH;
	hrtc.Init.OutPutType = RTC_OUTPUT_TYPE_OPENDRAIN;
	if (HAL_RTC_Init(&hrtc) != HAL_OK) {
		Error_Handler();
	}

}

static void MX_SPI5_Init(void) {

	/* SPI5 parameter configuration*/
	hspi5.Instance = SPI5;
	hspi5.Init.Mode = SPI_MODE_MASTER;
	hspi5.Init.Direction = SPI_DIRECTION_2LINES;
	hspi5.Init.DataSize = SPI_DATASIZE_8BIT;
	hspi5.Init.CLKPolarity = SPI_POLARITY_LOW;
	hspi5.Init.CLKPhase = SPI_PHASE_1EDGE;
	hspi5.Init.NSS = SPI_NSS_SOFT;
	hspi5.Init.BaudRatePrescaler = SPI_BAUDRATEPRESCALER_4;
	hspi5.Init.FirstBit = SPI_FIRSTBIT_MSB;
	hspi5.Init.TIMode = SPI_TIMODE_DISABLE;
	hspi5.Init.CRCCalculation = SPI_CRCCALCULATION_DISABLE;
	hspi5.Init.CRCPolynomial = 10;
	if (HAL_SPI_Init(&hspi5) != HAL_OK) {
		Error_Handler();
	}

}

static void MX_DMA_Init(void) {

	/* DMA controller clock enable */
	__HAL_RCC_DMA2_CLK_ENABLE();

	/* DMA interrupt init */
	/* DMA2_Stream4_IRQn interrupt configuration */
	HAL_NVIC_SetPriority(DMA2_Stream4_IRQn, 0, 0);
	HAL_NVIC_EnableIRQ(DMA2_Stream4_IRQn);

}

static void MX_GPIO_Init(void) {
	GPIO_InitTypeDef GPIO_InitStruct = { 0 };

	/* GPIO Ports Clock Enable */
	__HAL_RCC_GPIOC_CLK_ENABLE();
	__HAL_RCC_GPIOF_CLK_ENABLE();
	__HAL_RCC_GPIOH_CLK_ENABLE();
	__HAL_RCC_GPIOA_CLK_ENABLE();
	__HAL_RCC_GPIOD_CLK_ENABLE();
	__HAL_RCC_GPIOG_CLK_ENABLE();

	/*Configure GPIO pin Output Level */
	HAL_GPIO_WritePin(GPIOC, GPIO_PIN_2, GPIO_PIN_RESET);

	/*Configure GPIO pin Output Level */
	HAL_GPIO_WritePin(GPIOD, GPIO_PIN_12 | GPIO_PIN_13, GPIO_PIN_RESET);

	/*Configure GPIO pin Output Level */
	HAL_GPIO_WritePin(GPIOG, GPIO_PIN_13, GPIO_PIN_RESET);

	/*Configure GPIO pin : PC2 */
	GPIO_InitStruct.Pin = GPIO_PIN_2;
	GPIO_InitStruct.Mode = GPIO_MODE_OUTPUT_PP;
	GPIO_InitStruct.Pull = GPIO_NOPULL;
	GPIO_InitStruct.Speed = GPIO_SPEED_FREQ_LOW;
	HAL_GPIO_Init(GPIOC, &GPIO_InitStruct);

	/*Configure GPIO pin : PA0 */
	GPIO_InitStruct.Pin = GPIO_PIN_0;
	GPIO_InitStruct.Mode = GPIO_MODE_IT_RISING;
	GPIO_InitStruct.Pull = GPIO_NOPULL;
	HAL_GPIO_Init(GPIOA, &GPIO_InitStruct);

	/*Configure GPIO pins : PD8 PD10 */
	GPIO_InitStruct.Pin = GPIO_PIN_8 | GPIO_PIN_10;
	GPIO_InitStruct.Mode = GPIO_MODE_IT_FALLING;
	GPIO_InitStruct.Pull = GPIO_PULLDOWN;
	HAL_GPIO_Init(GPIOD, &GPIO_InitStruct);

	/*Configure GPIO pins : PD12 PD13 */
	GPIO_InitStruct.Pin = GPIO_PIN_12 | GPIO_PIN_13;
	GPIO_InitStruct.Mode = GPIO_MODE_OUTPUT_PP;
	GPIO_InitStruct.Pull = GPIO_NOPULL;
	GPIO_InitStruct.Speed = GPIO_SPEED_FREQ_LOW;
	HAL_GPIO_Init(GPIOD, &GPIO_InitStruct);

	/*Configure GPIO pin : PG13 */
	GPIO_InitStruct.Pin = GPIO_PIN_13;
	GPIO_InitStruct.Mode = GPIO_MODE_OUTPUT_PP;
	GPIO_InitStruct.Pull = GPIO_NOPULL;
	GPIO_InitStruct.Speed = GPIO_SPEED_FREQ_LOW;
	HAL_GPIO_Init(GPIOG, &GPIO_InitStruct);

	/* EXTI interrupt init*/
	HAL_NVIC_SetPriority(EXTI0_IRQn, 0, 0);
	HAL_NVIC_EnableIRQ(EXTI0_IRQn);

	HAL_NVIC_SetPriority(EXTI9_5_IRQn, 0, 0);
	HAL_NVIC_EnableIRQ(EXTI9_5_IRQn);

	HAL_NVIC_SetPriority(EXTI15_10_IRQn, 0, 0);
	HAL_NVIC_EnableIRQ(EXTI15_10_IRQn);

}

/* USER CODE BEGIN 4 */

//}
/* USER CODE END 4 */

void Error_Handler(void) {
	__disable_irq();
	while (1) {
	}
}
